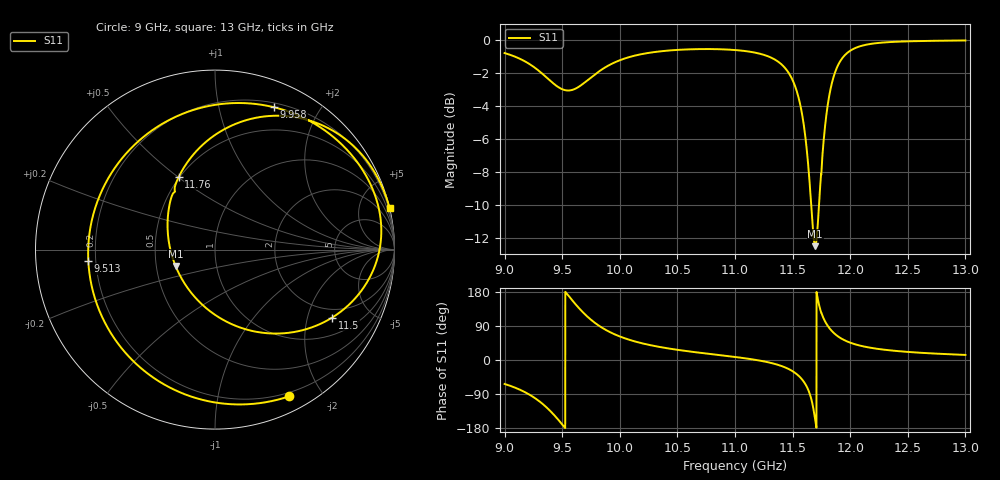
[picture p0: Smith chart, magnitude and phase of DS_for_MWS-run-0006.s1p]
! TOUCHSTONE file generated by CST DESIGN STUDIO
! Date and time: Tue Feb  4 18:09:25 2025
! Project name: C:\Work\MatlabApps\UnitCellOptimizationMatlab\CST\unitcell.cst
! Tree item: Tasks\Sweep1\SPara1\S-Parameters
! Header version: 2024
! Port assignment regex: !\s*Touchstone port\s*([0-9]+)\s*=\s*(CST MWS port|CST DES external port|CST DES block port)\s*(.+)\s* \(\"(.*)\"\)(\s*mode\s*([0-9]+))?.*
! Touchstone port assignment:
! Touchstone port 1 = CST DES external port 1 ("")
# GHz S MA R 50
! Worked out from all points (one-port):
!   4001 points, 9 GHz to 13 GHz, reference 50 ohm
!   lowest |S11| = -12.5 dB at 11.7 GHz (marker M1), VSWR 1.62, Z = 31.5 - j6.11 ohm
!   |S11| at or under -10 dB: 11.66 GHz to 11.73 GHz (67.15 MHz wide, 0.574 % of centre)
!   S11 on the Smith chart (normalised r, x): 9 GHz: 0.16, -1.61; 9.513 GHz: 0.17, -0.04; 9.958 GHz: 0.24, +1.47; 11.5 GHz: 1.63, -2.86; 11.76 GHz: 0.49, +0.51; 13 GHz: 0.01, +8.50
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9  0.9157 -63.3
9.172  0.8659 -84.1
9.29  0.8128 -106.3
9.391  0.7577 -132.9
9.5  0.7115 -170.0
9.513  0.7087 -174.9
9.603  0.7112 151.6
9.721  0.758 113.8
9.824  0.8076 89.5
9.958  0.8587 67.4
10  0.8709 62.1
10.214  0.9123 42.6
10.5  0.9361 26.9
11  0.9352 8.0
11.325  0.8831 -8.7
11.5  0.7582 -29.6
11.503  0.7542 -30.2
11.617  0.4884 -67.0
11.656  0.3387 -96.1
11.696  0.2381 -157.4
11.76  0.4536 116.3
11.802  0.6273 91.5
11.848  0.7588 74.2
11.919  0.8712 57.3
12  0.9306 45.8
12.186  0.9769 31.8
12.5  0.9937 21.3
13  0.9998 13.4
